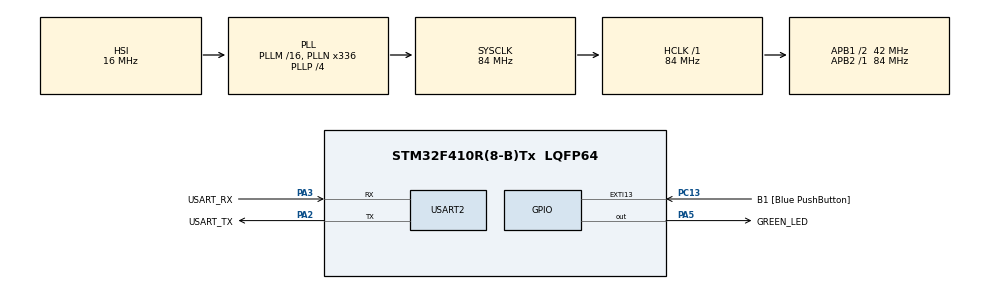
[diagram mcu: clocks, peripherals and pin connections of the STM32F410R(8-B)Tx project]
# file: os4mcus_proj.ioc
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FREERTOS.Tasks01=myTask01,40,128,StartTask01,Default,NULL,Dynamic,NULL,NULL;myTask02,24,128,StartTask02,Default,NULL,Dynamic,NULL,NULL;myTask03,8,128,StartTask03,Default,NULL,Dynamic,NULL,NULL
FREERTOS.configUSE_NEWLIB_REENTRANT=1
FREERTOS.configUSE_PREEMPTION=0
Mcu.Family=STM32F4
Mcu.Name=STM32F410R(8-B)Tx
Mcu.Package=LQFP64
NVIC.EXTI15_10_IRQn=true\:5\:0\:false\:false\:true\:true\:true\:true\:true
NVIC.PriorityGroup=NVIC_PRIORITYGROUP_4
NVIC.TIM5_IRQn=true\:15\:0\:false\:false\:true\:false\:false\:true\:true
NVIC.TimeBase=TIM5_IRQn
NVIC.TimeBaseIP=TIM5
PA13.GPIO_Label=TMS
PA13.Mode=Trace_Asynchronous_SW
PA13.Signal=SYS_JTMS-SWDIO
PA14.GPIO_Label=TCK
PA14.Mode=Trace_Asynchronous_SW
PA14.Signal=SYS_JTCK-SWCLK
PA2.GPIO_Label=USART_TX
PA2.Mode=Asynchronous
PA2.Signal=USART2_TX
PA3.GPIO_Label=USART_RX
PA3.Mode=Asynchronous
PA3.Signal=USART2_RX
PA5.GPIO_Label=GREEN_LED
PA5.Signal=GPIO_Output
PB3.GPIO_Label=SWO
PB3.Mode=Trace_Asynchronous_SW
PB3.Signal=SYS_JTDO-SWO
PC13-ANTI_TAMP.GPIO_Label=B1 [Blue PushButton]
PC13-ANTI_TAMP.GPIO_ModeDefaultEXTI=GPIO_MODE_IT_RISING
PC13-ANTI_TAMP.Signal=GPXTI13
PC14-OSC32_IN.Mode=LSE-External-Oscillator
PC14-OSC32_IN.Signal=RCC_OSC32_IN
PC15-OSC32_OUT.Mode=LSE-External-Oscillator
PC15-OSC32_OUT.Signal=RCC_OSC32_OUT
PH0\ -\ OSC_IN.Mode=HSE-External-Clock-Source
PH0\ -\ OSC_IN.Signal=RCC_OSC_IN
PH1\ -\ OSC_OUT.Mode=HSE-External-Clock-Source
PH1\ -\ OSC_OUT.Signal=RCC_OSC_OUT
ProjectManager.HeapSize=0x200
ProjectManager.StackSize=0x400
ProjectManager.TargetToolchain=STM32CubeIDE
RCC.48MHZClocksFreq_Value=84000000
RCC.AHBFreq_Value=84000000
RCC.APB1CLKDivider=RCC_HCLK_DIV2
RCC.APB1Freq_Value=42000000
RCC.APB1TimFreq_Value=84000000
RCC.APB2Freq_Value=84000000
RCC.APB2TimFreq_Value=84000000
RCC.CortexFreq_Value=84000000
RCC.FLatency-AdvancedSettings=FLASH_LATENCY_2
RCC.HCLKFreq_Value=84000000
RCC.HSE_VALUE=8000000
RCC.HSI_VALUE=16000000
RCC.PLLN=336
RCC.PLLP=RCC_PLLP_DIV4
RCC.SYSCLKFreq_VALUE=84000000
RCC.SYSCLKSource=RCC_SYSCLKSOURCE_PLLCLK
RCC.VCOOutputFreq_Value=336000000
USART2.VirtualMode=VM_ASYNC
VP_FREERTOS_VS_CMSIS_V2.Mode=CMSIS_V2
VP_SYS_VS_tim5.Mode=TIM5
board=NUCLEO-F410RB

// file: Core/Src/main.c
/* USER CODE BEGIN Header */
/**
  ******************************************************************************
  * @file           : main.c
  * @brief          : Main program body
  ******************************************************************************
  * @attention
  *
  * Copyright (c) 2026 STMicroelectronics.
  * All rights reserved.
  *
  * This software is licensed under terms that can be found in the LICENSE file
  * in the root directory of this software component.
  * If no LICENSE file comes with this software, it is provided AS-IS.
  *
  ******************************************************************************
  */
/* USER CODE END Header */
#include "main.h"
#include "cmsis_os.h"
#include "usart.h"
#include "gpio.h"

/* USER CODE BEGIN Includes */
#include "stdio.h"
/* USER CODE END Includes */

void SystemClock_Config(void);
void MX_FREERTOS_Init(void);
/* USER CODE BEGIN PFP */

int __io_putchar(int chr);
void reportStatus(void);

/* USER CODE END PFP */

int main(void)
{

  /* MCU Configuration--------------------------------------------------------*/

  /* Reset of all peripherals, Initializes the Flash interface and the Systick. */
  HAL_Init();

  /* Configure the system clock */
  SystemClock_Config();

  /* Initialize all configured peripherals */
  MX_GPIO_Init();
  MX_USART2_UART_Init();
  /* USER CODE BEGIN 2 */

  printf("osKernelInitialize()\n\r");

  /* USER CODE END 2 */

  /* Init scheduler */
  osKernelInitialize();  /* Call init function for freertos objects (in cmsis_os2.c) */
  MX_FREERTOS_Init();

  /* Start scheduler */
  osKernelStart();

  /* We should never get here as control is now taken by the scheduler */

  /* Infinite loop */
  while (1)
  {

  }
}

void SystemClock_Config(void)
{
  RCC_OscInitTypeDef RCC_OscInitStruct = {0};
  RCC_ClkInitTypeDef RCC_ClkInitStruct = {0};

  /** Configure the main internal regulator output voltage
  */
  __HAL_RCC_PWR_CLK_ENABLE();
  __HAL_PWR_VOLTAGESCALING_CONFIG(PWR_REGULATOR_VOLTAGE_SCALE1);

  /** Initializes the RCC Oscillators according to the specified parameters
  * in the RCC_OscInitTypeDef structure.
  */
  RCC_OscInitStruct.OscillatorType = RCC_OSCILLATORTYPE_HSI;
  RCC_OscInitStruct.HSIState = RCC_HSI_ON;
  RCC_OscInitStruct.HSICalibrationValue = RCC_HSICALIBRATION_DEFAULT;
  RCC_OscInitStruct.PLL.PLLState = RCC_PLL_ON;
  RCC_OscInitStruct.PLL.PLLSource = RCC_PLLSOURCE_HSI;
  RCC_OscInitStruct.PLL.PLLM = 16;
  RCC_OscInitStruct.PLL.PLLN = 336;
  RCC_OscInitStruct.PLL.PLLP = RCC_PLLP_DIV4;
  RCC_OscInitStruct.PLL.PLLQ = 4;
  RCC_OscInitStruct.PLL.PLLR = 2;
  if (HAL_RCC_OscConfig(&RCC_OscInitStruct) != HAL_OK)
  {
    Error_Handler();
  }

  /** Initializes the CPU, AHB and APB buses clocks
  */
  RCC_ClkInitStruct.ClockType = RCC_CLOCKTYPE_HCLK|RCC_CLOCKTYPE_SYSCLK
                              |RCC_CLOCKTYPE_PCLK1|RCC_CLOCKTYPE_PCLK2;
  RCC_ClkInitStruct.SYSCLKSource = RCC_SYSCLKSOURCE_PLLCLK;
  RCC_ClkInitStruct.AHBCLKDivider = RCC_SYSCLK_DIV1;
  RCC_ClkInitStruct.APB1CLKDivider = RCC_HCLK_DIV2;
  RCC_ClkInitStruct.APB2CLKDivider = RCC_HCLK_DIV1;

  if (HAL_RCC_ClockConfig(&RCC_ClkInitStruct, FLASH_LATENCY_2) != HAL_OK)
  {
    Error_Handler();
  }
}

/* USER CODE BEGIN 4 */

int __io_putchar(int chr){
ITM_SendChar(chr);
return 1;
}

/* USER CODE END 4 */

void HAL_TIM_PeriodElapsedCallback(TIM_HandleTypeDef *htim)
{
  if (htim->Instance == TIM5)
  {
    HAL_IncTick();
  }
}

void Error_Handler(void)
{
  __disable_irq();
  while (1)
  {
  }
}

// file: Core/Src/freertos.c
/* USER CODE BEGIN Header */
/**
  ******************************************************************************
  * File Name          : freertos.c
  * Description        : Code for freertos applications
  ******************************************************************************
  * @attention
  *
  * Copyright (c) 2026 STMicroelectronics.
  * All rights reserved.
  *
  * This software is licensed under terms that can be found in the LICENSE file
  * in the root directory of this software component.
  * If no LICENSE file comes with this software, it is provided AS-IS.
  *
  ******************************************************************************
  */
/* USER CODE END Header */

#include "FreeRTOS.h"
#include "task.h"
#include "main.h"
#include "cmsis_os.h"

/* USER CODE BEGIN PTD */
osEventFlagsId_t myEventFlags;
/* USER CODE END PTD */

/* USER CODE BEGIN PD */

osThreadState_t task01_state;
osThreadState_t task02_state;
osThreadState_t task03_state;

/* USER CODE END PD */

/* USER CODE BEGIN PM */
//extern osThreadState_t task01_state;
//extern osThreadState_t task02_state;
//extern osThreadState_t task03_state;
/* USER CODE END PM */

/* Definitions for myTask01 */
osThreadId_t myTask01Handle;
const osThreadAttr_t myTask01_attributes = {
  .name = "myTask01",
  .stack_size = 128 * 4,
  .priority = (osPriority_t) osPriorityHigh,
};
/* Definitions for myTask02 */
osThreadId_t myTask02Handle;
const osThreadAttr_t myTask02_attributes = {
  .name = "myTask02",
  .stack_size = 128 * 4,
  .priority = (osPriority_t) osPriorityNormal,
};
/* Definitions for myTask03 */
osThreadId_t myTask03Handle;
const osThreadAttr_t myTask03_attributes = {
  .name = "myTask03",
  .stack_size = 128 * 4,
  .priority = (osPriority_t) osPriorityLow,
};

/* USER CODE BEGIN FunctionPrototypes */
void reportStatus(void);
/* USER CODE END FunctionPrototypes */

void StartTask01(void *argument);
void StartTask02(void *argument);
void StartTask03(void *argument);

void MX_FREERTOS_Init(void); /* (MISRA C 2004 rule 8.1) */

void MX_FREERTOS_Init(void) {

  /* USER CODE BEGIN RTOS_MUTEX */
  /* add mutexes, ... */
	myEventFlags = osEventFlagsNew(NULL);
  /* USER CODE END RTOS_MUTEX */

  /* Create the thread(s) */
  /* creation of myTask01 */
  myTask01Handle = osThreadNew(StartTask01, NULL, &myTask01_attributes);

  /* creation of myTask02 */
  myTask02Handle = osThreadNew(StartTask02, NULL, &myTask02_attributes);

  /* creation of myTask03 */
  myTask03Handle = osThreadNew(StartTask03, NULL, &myTask03_attributes);

  /* USER CODE BEGIN RTOS_EVENTS */
  /* add events, ... */
//  myEventFlags = osEventFlagsNew(NULL);
  /* USER CODE END RTOS_EVENTS */

}

void StartTask01(void *argument)
{
  /* USER CODE BEGIN StartTask01 */
	printf("start Task01\n\r");
  /* Infinite loop */
  for(;;)
  {
	  reportStatus();
	  osEventFlagsWait(myEventFlags, 0x1, osFlagsWaitAll, osWaitForever);

	  for(int i = 0; i < 10; i++){
		  HAL_GPIO_TogglePin(GREEN_LED_GPIO_Port , GREEN_LED_Pin);
		  HAL_Delay(50);
	  }
	  printf("release resources Task01\n\r");
    osDelay(300);
  }
  /* USER CODE END StartTask01 */
}

void StartTask02(void *argument)
{
  /* USER CODE BEGIN StartTask02 */
  printf("Start Task02\n\r");

  /* Infinite loop */
  for(;;)
  {
	  reportStatus();

	  for(int i = 0; i < 5; i++){
		  HAL_GPIO_TogglePin(GREEN_LED_GPIO_Port , GREEN_LED_Pin);
		  HAL_Delay(300);
	  }
	 printf("release resources Task02\n\r");
    osDelay(300);
  }
  /* USER CODE END StartTask02 */
}

void StartTask03(void *argument)
{
  /* USER CODE BEGIN StartTask03 */
	printf("Start Task03\n\r");
  /* Infinite loop */
  for(;;)
  {
	  reportStatus();
	  for(int i = 0; i < 5; i++){
		  HAL_GPIO_WritePin(GREEN_LED_GPIO_Port, GREEN_LED_Pin, GPIO_PIN_RESET);
		  HAL_Delay(250);
	  }
	  printf("release resources Task03\n\r");
    osDelay(300);
  }
  /* USER CODE END StartTask03 */
}

/* USER CODE BEGIN Application */
void reportStatus(void){
	task01_state = osThreadGetState(myTask01Handle);
	task02_state = osThreadGetState(myTask02Handle);
	task03_state = osThreadGetState(myTask03Handle);

	printf("Task states: 01->%d, 02->%d, 03->%d \r\n", task01_state, task02_state, task03_state);
}

/* USER CODE END Application */
